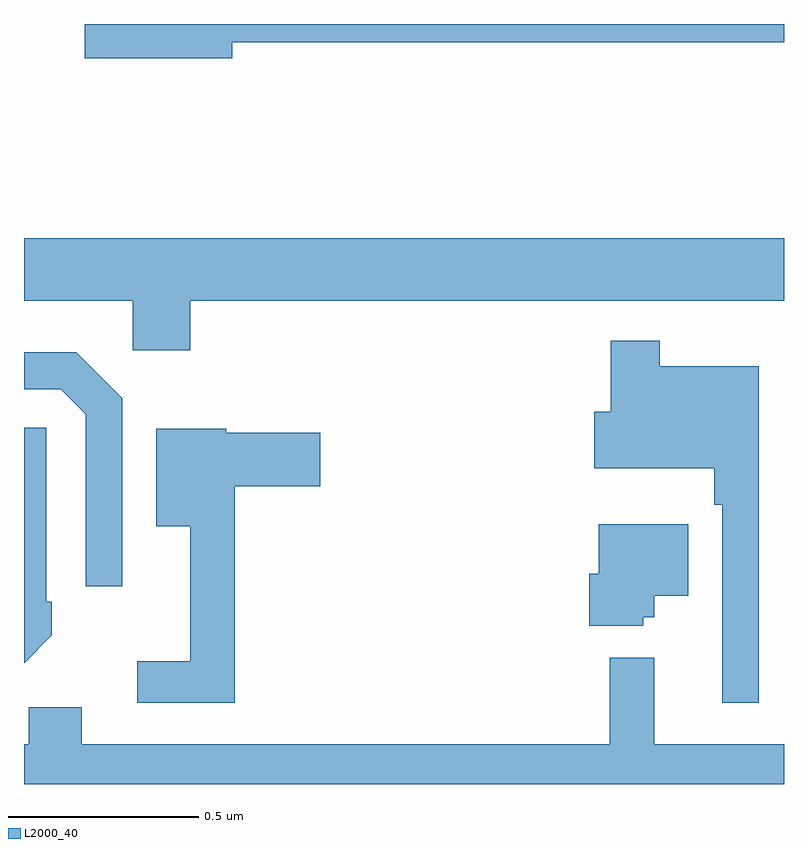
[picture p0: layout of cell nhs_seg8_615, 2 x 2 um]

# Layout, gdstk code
import gdstk
lib = gdstk.Library(unit=1e-6, precision=1e-09)
def P(c, l, *ps):  # polygons
    for p in ps: c.add(gdstk.Polygon(p, *l))
L2000_40 = (2000, 40)

nhs_seg8_615 = lib.new_cell('nhs_seg8_615')
P(nhs_seg8_615, L2000_40, [(119.548,1111.852),(121,1111.852),(121,1111.9),(119.16,1111.9),(119.16,1111.81),(119.548,1111.81)],
  [(119.438,1111.172),(121,1111.172),(121,1111.336),(119,1111.336),(119,1111.172),(119.286,1111.172),(119.286,1111.041),(119.438,1111.041)],
  [(120.934,1111),(120.673,1111),(120.673,1111.066),(120.544,1111.066),(120.544,1110.879),(120.5,1110.879),(120.5,1110.731),(120.817,1110.731),(120.817,1110.635),(120.837,1110.635),(120.837,1110.114),(120.934,1110.114)],
  [(119.259,1110.915),(119.138,1111.036),(119,1111.036),(119,1110.939),(119.097,1110.939),(119.163,1110.873),(119.163,1110.42),(119.259,1110.42)],
  [(119.073,1110.291),(119.073,1110.379),(119.058,1110.379),(119.058,1110.837),(119,1110.837),(119,1110.218)],
  [(119.555,1110.683),(119.779,1110.683),(119.779,1110.825),(119.532,1110.825),(119.532,1110.835),(119.348,1110.835),(119.348,1110.578),(119.438,1110.578),(119.438,1110.223),(119.298,1110.223),(119.298,1110.114),(119.555,1110.114)],
  [(120.63,1110.339),(120.658,1110.339),(120.658,1110.395),(120.748,1110.395),(120.748,1110.583),(120.512,1110.583),(120.512,1110.453),(120.488,1110.453),(120.488,1110.317),(120.63,1110.317)],
  [(121,1110.004),(120.659,1110.004),(120.659,1110.232),(120.541,1110.232),(120.541,1110.004),(119.152,1110.004),(119.152,1110.102),(119.013,1110.102),(119.013,1110.004),(119,1110.004),(119,1109.9),(121,1109.9)])

lib.write_gds('nhs_seg8_615.gds')
